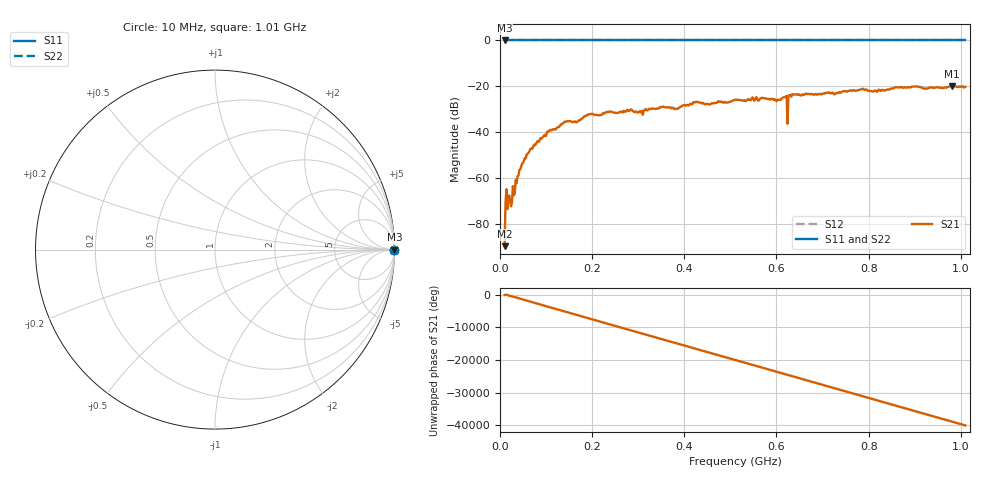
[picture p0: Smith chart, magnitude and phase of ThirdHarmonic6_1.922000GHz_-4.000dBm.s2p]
! 8/16/2025 11:10:18 PM
! C:\ANRITSUVNA\TEMP\TEMP.S2P
! CHANNEL.1
! TR.MEASUREMENT
! RAW.DATA
! RF.CORRECTION.OFF
! AVERAGING.OFF
! IF.BANDWIDTH: 5KHZ
! SWEEPTYPE:  FREQ.SWEEP(Linear)
! Reference Plane Port Info
! PORT:  PORT1  PORT2
! DISTANCE:  0  m  0  m
! TIME:  0  s  0  s
! PHASE.OFFSET:  0  deg.  0  deg.
! LOSS:  0  dB  0  dB
! REF.LOSS:  0  dB  0  dB
! REF.FREQ:  0  Hz  0  Hz
! Power Info
! POWER:  -20  dBm  -20  dBm
! EFF.POWER:  -20  dBm  -20  dBm
! SOURCE.ATTEN:  0  dB  0  dB
! TEST.ATTEN:  0  dB  0  dB
# GHZ S RI R 50.0
! FREQ.GHZ  S11RE  S11IM  S21RE  S21IM  S12RE  S12IM  S22RE  S22IM
!; PortSelection: Port_12
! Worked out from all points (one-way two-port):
!   501 points, 10 MHz to 1.01 GHz, reference 50 ohm
!   highest |S21| = -19.89 dB at 980 MHz (marker M1); lowest = -89.7 dB at 10 MHz (marker M2)
!   lowest |S11| = 0.0 dB at 10 MHz (marker M3)
!   |S11| at or under -10 dB: nowhere
!   |S22| runs from 0.0 to 0.0 dB; largest |S21 - S12| = 1.1
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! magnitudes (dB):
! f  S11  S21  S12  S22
! 10 MHz  0.0  -89.7  0.0  0.0
! 16 MHz  0.0  -73.5  0.0  0.0
! 20 MHz  0.0  -67.6  0.0  0.0
! 28 MHz  0.0  -63.5  0.0  0.0
! 38 MHz  0.0  -59.3  0.0  0.0
! 46 MHz  0.0  -54.9  0.0  0.0
! 70 MHz  0.0  -47.3  0.0  0.0
! 106 MHz  0.0  -39.7  0.0  0.0
! 142 MHz  0.0  -35.5  0.0  0.0
! 178 MHz  0.0  -34.0  0.0  0.0
! 196 MHz  0.0  -32.1  0.0  0.0
! 344 MHz  0.0  -29.7  0.0  0.0
! 510 MHz  0.0  -25.9  0.0  0.0
! 604 MHz  0.0  -25.8  0.0  0.0
! 618 MHz  0.0  -24.8  0.0  0.0
! 620 MHz  0.0  -24.5  0.0  0.0
! 628 MHz  0.0  -23.9  0.0  0.0
! 632 MHz  0.0  -24.6  0.0  0.0
! 678 MHz  0.0  -23.5  0.0  0.0
! 844 MHz  0.0  -21.4  0.0  0.0
! 980 MHz  0.0  -19.9  0.0  0.0
! 1.01 GHz  0.0  -20.2  0.0  0.0
